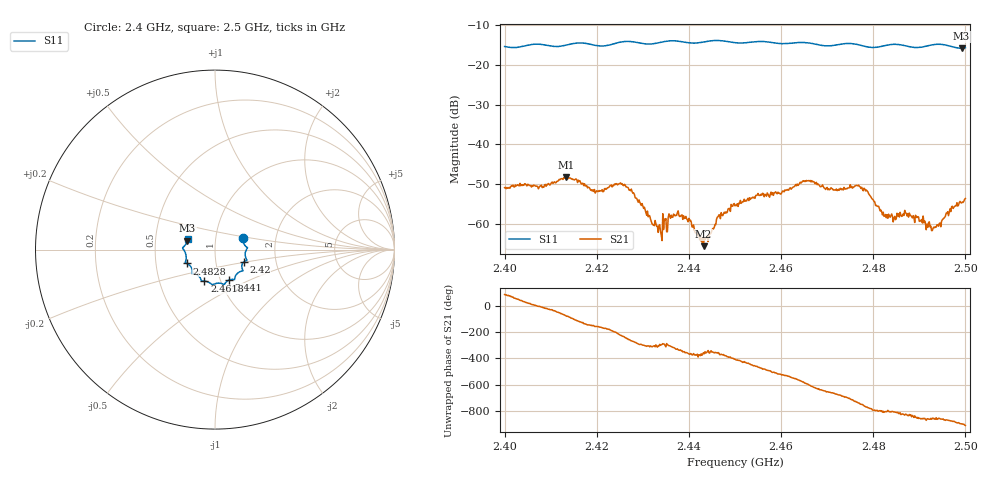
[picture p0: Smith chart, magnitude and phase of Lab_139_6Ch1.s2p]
# Hz S RI R 50
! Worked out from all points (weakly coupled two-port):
!   601 points, 2.4 GHz to 2.5 GHz, reference 50 ohm
!   highest |S21| = -48.22 dB at 2.4133 GHz (marker M1); lowest = -65.5 dB at 2.4432 GHz (marker M2)
!   lowest |S11| = -15.8 dB at 2.4992 GHz (marker M3), VSWR 1.39, Z = 36.5 + j3.67 ohm
!   |S11| at or under -10 dB: start of sweep to end of sweep
!   S12 and S22 are empty: the file has one direction only
!   S11 on the Smith chart (normalised r, x): 2.4 GHz: 1.36, +0.18; 2.42 GHz: 1.36, -0.20; 2.441 GHz: 1.10, -0.39; 2.4618 GHz: 0.84, -0.30; 2.4828 GHz: 0.72, -0.12; 2.5 GHz: 0.73, +0.09
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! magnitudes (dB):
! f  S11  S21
! 2.4 GHz  -15.4  -50.9
! 2.4133 GHz  -15.1  -48.2
! 2.4167 GHz  -14.5  -49.9
! 2.42 GHz  -15.2  -51.6
! 2.4257 GHz  -14.2  -50.2
! 2.4333 GHz  -14.5  -62.1
! 2.4337 GHz  -14.4  -60.1
! 2.4372 GHz  -14.0  -57.8
! 2.441 GHz  -14.6  -60.2
! 2.4432 GHz  -14.3  -65.5
! 2.4465 GHz  -13.9  -57.7
! 2.45 GHz  -14.5  -55.4
! 2.4618 GHz  -14.6  -51.0
! 2.4667 GHz  -14.6  -49.1
! 2.4718 GHz  -15.1  -51.5
! 2.477 GHz  -15.0  -50.5
! 2.4828 GHz  -15.1  -58.4
! 2.4833 GHz  -15.0  -57.5
! 2.4873 GHz  -15.3  -57.9
! 2.4932 GHz  -14.9  -60.7
! 2.4992 GHz  -15.8  -54.7
! 2.5 GHz  -15.7  -53.6
